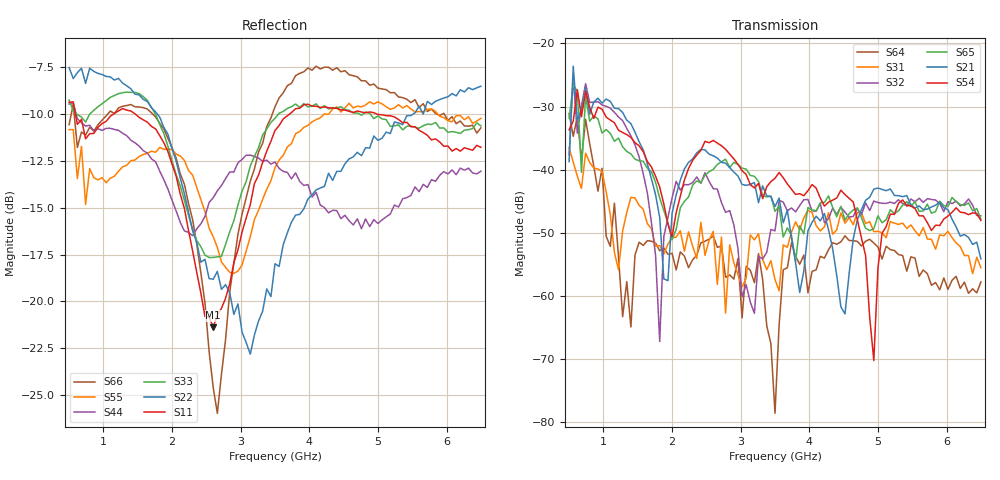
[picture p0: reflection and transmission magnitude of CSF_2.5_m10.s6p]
!Keysight Technologies,M9804A,MY58100912,A.14.10.03
!Date: Thursday, April 27, 2023 10:28:33
!Correction: S11(C  6-Port  )
!S12(C  6-Port  )
!S13(C  6-Port  )
!S14(C  6-Port  )
!S15(C  6-Port  )
!S16(C  6-Port  )
!S21(C  6-Port  )
!S22(C  6-Port  )
!S23(C  6-Port  )
!S24(C  6-Port  )
!S25(C  6-Port  )
!S26(C  6-Port  )
!S31(C  6-Port  )
!S32(C  6-Port  )
!S33(C  6-Port  )
!S34(C  6-Port  )
!S35(C  6-Port  )
!S36(C  6-Port  )
!S41(C  6-Port  )
!S42(C  6-Port  )
!S43(C  6-Port  )
!S44(C  6-Port  )
!S45(C  6-Port  )
!S46(C  6-Port  )
!S51(C  6-Port  )
!S52(C  6-Port  )
!S53(C  6-Port  )
!S54(C  6-Port  )
!S55(C  6-Port  )
!S56(C  6-Port  )
!S61(C  6-Port  )
!S62(C  6-Port  )
!S63(C  6-Port  )
!S64(C  6-Port  )
!S65(C  6-Port  )
!S66(C  6-Port  )
!S6P File: Measurement: :
# Hz S  RI  R 50
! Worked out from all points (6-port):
!   101 points, 500 MHz to 6.5 GHz, reference 50 ohm
!   strongest paths, dB at 500 MHz, 2 GHz, 3.5 GHz, 5 GHz, 6.5 GHz:
!     S54: -33.7, -50.6, -41.3, -55.6, -48.0
!     S21: -38.7, -46.9, -45.8, -42.9, -54.1
!     S65: -31.8, -51.1, -46.6, -47.3, -47.8
!     S32: -37.7, -44.5, -49.7, -45.2, -47.3
!     S31: -36.5, -50.7, -57.4, -49.7, -55.5
!     S64: -31.1, -53.2, -78.6, -52.2, -57.8
!   lowest |S11| = -21.4 dB at 2.6 GHz (marker M1), VSWR 1.19, Z = 42.4 + j2.26 ohm
!   |S11| at or under -10 dB: 592.9 MHz to 1.144 GHz (550.7 MHz wide, 63.4 % of centre); 1.466 GHz to 3.71 GHz (2.244 GHz wide, 86.7 % of centre); 4.99 GHz to end of sweep
